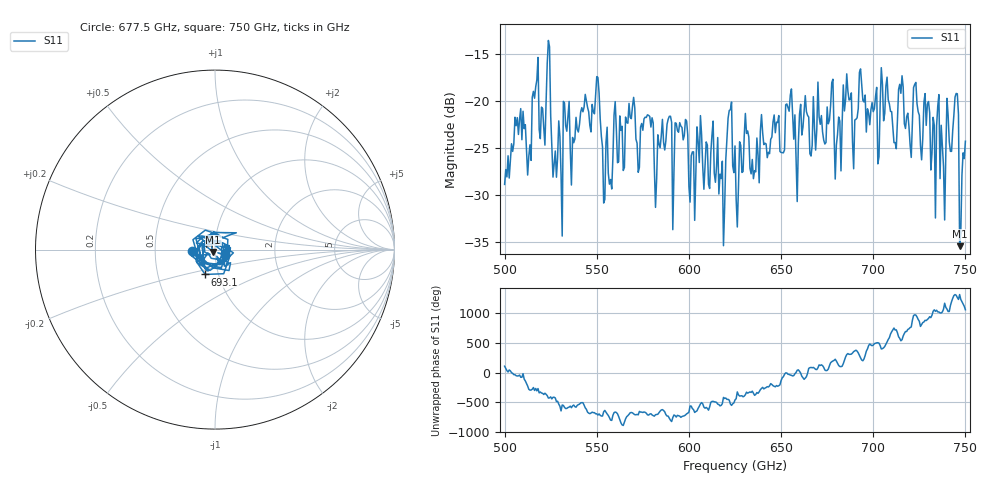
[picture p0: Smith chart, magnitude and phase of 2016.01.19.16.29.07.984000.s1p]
!Created with skrf (http://scikit-rf.org).
# GHz S RI R 50.0
!freq ReS11 ImS11
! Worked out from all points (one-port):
!   401 points, 500 GHz to 750 GHz, reference 50 ohm
!   lowest |S11| = -35.4 dB at 746.9 GHz (marker M1), VSWR 1.03, Z = 49 - j1.35 ohm
!   |S11| at or under -10 dB: start of sweep to end of sweep
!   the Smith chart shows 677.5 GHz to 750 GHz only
!   S11 on the Smith chart (normalised r, x): 677.5 GHz: 0.78, -0.01; 693.1 GHz: 0.86, -0.24; 750 GHz: 1.12, -0.05
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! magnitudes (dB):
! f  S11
! 500 GHz  -28.8
! 507.5 GHz  -23.5
! 513.1 GHz  -25.9
! 516.9 GHz  -18.4
! 520.6 GHz  -20.8
! 523.8 GHz  -13.5
! 526.9 GHz  -26.7
! 531.2 GHz  -34.3
! 550 GHz  -17.4
! 553.8 GHz  -30.8
! 562.5 GHz  -21.5
! 593.8 GHz  -23.1
! 618.1 GHz  -26.4
! 621.9 GHz  -21.0
! 625 GHz  -24.7
! 631.2 GHz  -23.4
! 635 GHz  -28.2
! 656.2 GHz  -21.2
! 658.1 GHz  -25.9
! 677.5 GHz  -18.0
! 687.5 GHz  -19.8
! 693.1 GHz  -16.5
! 718.8 GHz  -21.3
! 728.8 GHz  -22.5
! 737.5 GHz  -24.8
! 745 GHz  -19.2
! 746.9 GHz  -35.4
! 750 GHz  -24.2
